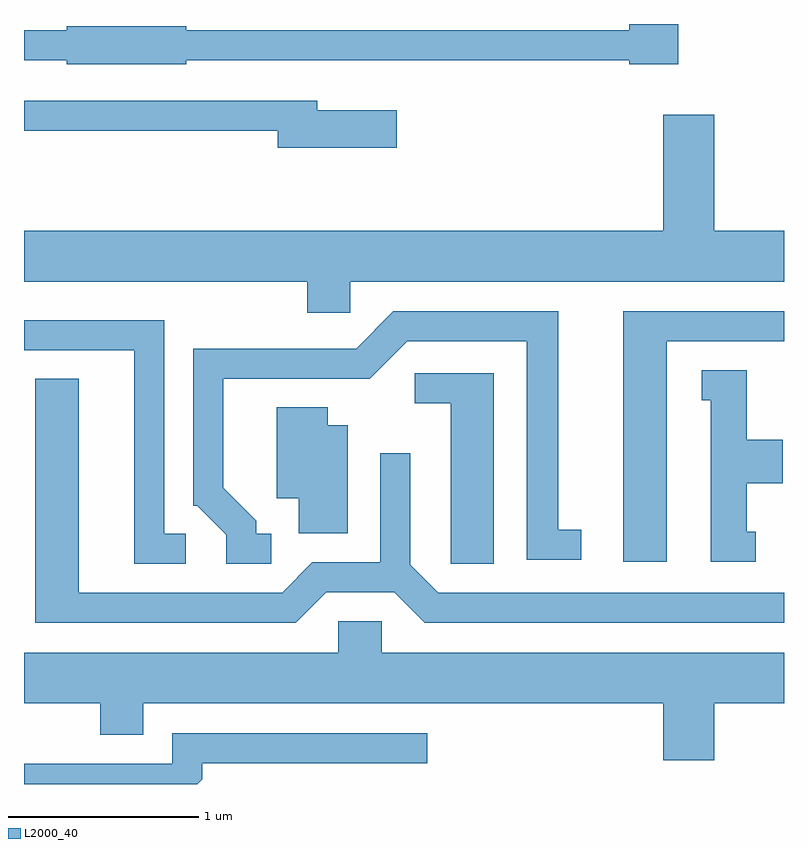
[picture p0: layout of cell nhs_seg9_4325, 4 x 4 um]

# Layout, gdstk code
import gdstk
lib = gdstk.Library(unit=1e-6, precision=1e-09)
def P(c, l, *ps):  # polygons
    for p in ps: c.add(gdstk.Polygon(p, *l))
L2000_40 = (2000, 40)

nhs_seg9_4325 = lib.new_cell('nhs_seg9_4325')
P(nhs_seg9_4325, L2000_40, [(312.464,2066.241),(314.796,2066.241),(314.796,2066.221),(315.054,2066.221),(315.054,2066.432),(314.796,2066.432),(314.796,2066.399),(312.464,2066.399),(312.464,2066.419),(311.836,2066.419),(311.836,2066.399),(311.611,2066.399),(311.611,2066.241),(311.836,2066.241),(311.836,2066.221),(312.464,2066.221)],
  [(313.574,2065.979),(313.154,2065.979),(313.154,2066.029),(311.611,2066.029),(311.611,2065.871),(312.946,2065.871),(312.946,2065.781),(313.574,2065.781)],
  [(313.329,2065.076),(315.611,2065.076),(315.611,2065.344),(315.244,2065.344),(315.244,2065.954),(314.976,2065.954),(314.976,2065.344),(311.611,2065.344),(311.611,2065.076),(313.101,2065.076),(313.101,2064.911),(313.329,2064.911)],
  [(314.994,2064.761),(315.611,2064.761),(315.611,2064.919),(314.766,2064.919),(314.766,2063.601),(314.994,2063.601)],
  [(312.913,2063.749),(312.834,2063.749),(312.834,2063.817),(312.659,2063.992),(312.659,2064.566),(313.432,2064.566),(313.627,2064.761),(314.256,2064.761),(314.256,2063.611),(314.543,2063.611),(314.543,2063.769),(314.424,2063.769),(314.424,2064.919),(313.554,2064.919),(313.359,2064.724),(312.501,2064.724),(312.501,2063.896),(312.524,2063.896),(312.676,2063.744),(312.676,2063.591),(312.913,2063.591)],
  [(312.463,2063.749),(312.349,2063.749),(312.349,2064.874),(311.611,2064.874),(311.611,2064.716),(312.191,2064.716),(312.191,2063.591),(312.463,2063.591)],
  [(315.463,2063.759),(315.414,2063.759),(315.414,2064.016),(315.604,2064.016),(315.604,2064.244),(315.414,2064.244),(315.414,2064.609),(315.178,2064.609),(315.178,2064.451),(315.226,2064.451),(315.226,2063.601),(315.463,2063.601)],
  [(314.084,2064.594),(313.668,2064.594),(313.668,2064.436),(313.856,2064.436),(313.856,2063.591),(314.084,2063.591)],
  [(313.202,2063.441),(313.559,2063.441),(313.719,2063.281),(315.611,2063.281),(315.611,2063.439),(313.792,2063.439),(313.644,2063.587),(313.644,2064.173),(313.486,2064.173),(313.486,2063.599),(313.129,2063.599),(312.969,2063.439),(311.899,2063.439),(311.899,2064.564),(311.671,2064.564),(311.671,2063.281),(313.042,2063.281)],
  [(313.314,2064.319),(313.209,2064.319),(313.209,2064.414),(312.941,2064.414),(312.941,2063.936),(313.056,2063.936),(313.056,2063.751),(313.314,2063.751)],
  [(315.244,2062.856),(315.611,2062.856),(315.611,2063.124),(313.494,2063.124),(313.494,2063.289),(313.266,2063.289),(313.266,2063.124),(311.611,2063.124),(311.611,2062.856),(312.011,2062.856),(312.011,2062.691),(312.239,2062.691),(312.239,2062.856),(314.976,2062.856),(314.976,2062.556),(315.244,2062.556)],
  [(312.549,2062.457),(312.549,2062.541),(313.733,2062.541),(313.733,2062.699),(312.391,2062.699),(312.391,2062.539),(311.611,2062.539),(311.611,2062.432),(312.524,2062.432)])

lib.write_gds('nhs_seg9_4325.gds')
